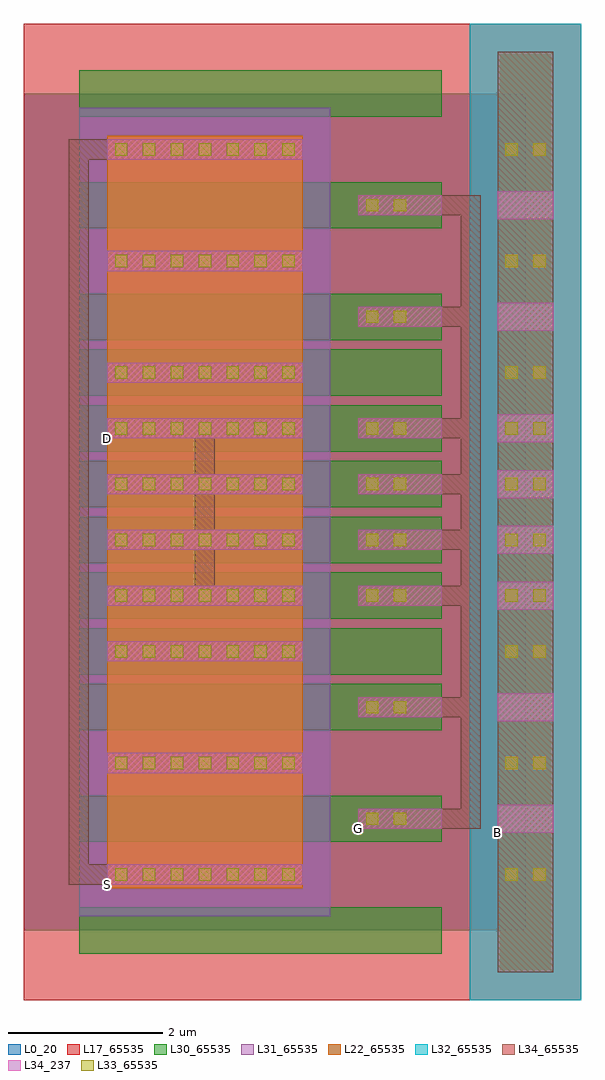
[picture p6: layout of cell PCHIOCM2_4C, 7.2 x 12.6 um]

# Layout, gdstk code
import gdstk
lib = gdstk.Library(unit=1e-6, precision=1e-09)
def R(c, l, rs):  # rectangles x0, y0, x1, y1
    for r in rs: c.add(gdstk.rectangle(r[:2], r[2:], *l))
def A(c, l, x, y, w, h, nx, ny, dx, dy):  # array of equal rectangles
    R(c, l, [(x+i*dx, y+j*dy, x+i*dx+w, y+j*dy+h) for i in range(nx) for j in range(ny)])
L0_20 = (0, 20)
L17_65535 = (17, 65535)
L22_65535 = (22, 65535)
L30_65535 = (30, 65535)
L31_65535 = (31, 65535)
L32_65535 = (32, 65535)
L33_65535 = (33, 65535)
L34_237 = (34, 237)
L34_65535 = (34, 65535)

pchio_4c = lib.new_cell('PCHIO_4C')
R(pchio_4c, L0_20, [(0,0,6.48,2.88)])
R(pchio_4c, L17_65535, [(0,-0.9,7.2,3.78)])
A(pchio_4c, L22_65535, 6.12, -0.54, 0.72, 0.36, 1, 11, 0, 0.36)
A(pchio_4c, L22_65535, 1.08, 0.54, 2.52, 0.36, 1, 5, 0, 0.36)
A(pchio_4c, L30_65535, 0.72, -0.3, 4.68, 0.6, 1, 3, 0, 1.44)
R(pchio_4c, L31_65535, [(0.72,0.18,3.96,2.7)])
R(pchio_4c, L32_65535, [(5.76,-0.9,7.2,3.78)])
A(pchio_4c, L33_65535, 1.18, 0.64, 0.16, 0.16, 7, 2, 0.36, 1.44)
R(pchio_4c, L33_65535, [(6.22,0.64,6.38,0.8), (6.58,0.64,6.74,0.8), (4.42,1.36,4.58,1.52), (4.78,1.36,4.94,1.52), (6.22,2.08,6.38,2.24), (6.58,2.08,6.74,2.24)])
R(pchio_4c, L34_237, [(1.08,0.59,3.6,0.85), (6.12,1.26,6.84,1.62), (4.32,1.31,5.4,1.57), (1.08,2.03,3.6,2.29)])
A(pchio_4c, L34_65535, 6.12, -0.54, 0.72, 0.36, 1, 11, 0, 0.36)
R(pchio_4c, L34_65535, [(1.08,0.59,3.6,0.85), (4.32,1.31,5.4,1.57), (1.08,2.03,3.6,2.29)])
pchio_4c.add(gdstk.Label('G', (4.32,1.31), layer=34, texttype=237))
pchio_4c.add(gdstk.Label('S', (1.08,0.59), layer=34, texttype=237))
pchio_4c.add(gdstk.Label('B', (6.12,1.26), layer=34, texttype=237))
pchio_4c.add(gdstk.Label('D', (1.08,2.03), layer=34, texttype=237))

pchiocm_4c = lib.new_cell('PCHIOCM_4C')
R(pchiocm_4c, L0_20, [(0,0,6.48,7.2)])
R(pchiocm_4c, L34_237, [(1.08,0.59,3.6,0.85), (4.32,1.31,5.4,1.57), (1.08,6.35,3.6,6.61)])
A(pchiocm_4c, L34_65535, 4.86, 1.31, 0.78, 0.26, 1, 4, 0, 1.44)
R(pchiocm_4c, L34_65535, [(5.64,1.31,5.9,5.89)])
pchiocm_4c.add(gdstk.Reference(pchio_4c, (0,0)))
pchiocm_4c.add(gdstk.Reference(pchio_4c, (0,1.44)))
pchiocm_4c.add(gdstk.Reference(pchio_4c, (0,2.88)))
pchiocm_4c.add(gdstk.Reference(pchio_4c, (0,4.32)))
pchiocm_4c.add(gdstk.Label('G', (4.32,1.31), layer=58, texttype=65535))
pchiocm_4c.add(gdstk.Label('D', (1.08,6.35), layer=34, texttype=237))
pchiocm_4c.add(gdstk.Label('G', (4.32,1.31), layer=34, texttype=237))
pchiocm_4c.add(gdstk.Label('S', (1.08,0.59), layer=34, texttype=237))

pchiocm2_4c = lib.new_cell('PCHIOCM2_4C')
R(pchiocm2_4c, L0_20, [(0,0,6.48,10.8)])
R(pchiocm2_4c, L34_237, [(1.08,0.59,3.6,0.85), (6.12,1.26,6.84,1.62), (4.32,1.31,5.4,1.57), (1.08,6.35,3.6,6.61)])
R(pchiocm2_4c, L34_65535, [(0.58,0.59,2.34,0.85), (0.58,0.59,0.84,10.21), (4.86,1.31,5.64,1.57), (5.64,1.31,5.9,5.17), (2.21,4.19,2.47,6.61), (4.86,4.91,5.64,5.17), (0.58,9.95,2.34,10.21)])
pchiocm2_4c.add(gdstk.Reference(pchiocm_4c, (0,0)))
pchiocm2_4c.add(gdstk.Reference(pchiocm_4c, (0,3.6)))
pchiocm2_4c.add(gdstk.Label('S', (1.08,0.59), layer=58, texttype=65535))
pchiocm2_4c.add(gdstk.Label('G', (4.32,1.31), layer=58, texttype=65535))
pchiocm2_4c.add(gdstk.Label('D', (1.08,6.35), layer=58, texttype=65535))
pchiocm2_4c.add(gdstk.Label('B', (6.12,1.26), layer=34, texttype=237))
pchiocm2_4c.add(gdstk.Label('D', (1.08,6.35), layer=34, texttype=237))
pchiocm2_4c.add(gdstk.Label('G', (4.32,1.31), layer=34, texttype=237))
pchiocm2_4c.add(gdstk.Label('S', (1.08,0.59), layer=34, texttype=237))

lib.write_gds('PCHIOCM2_4C.gds')
